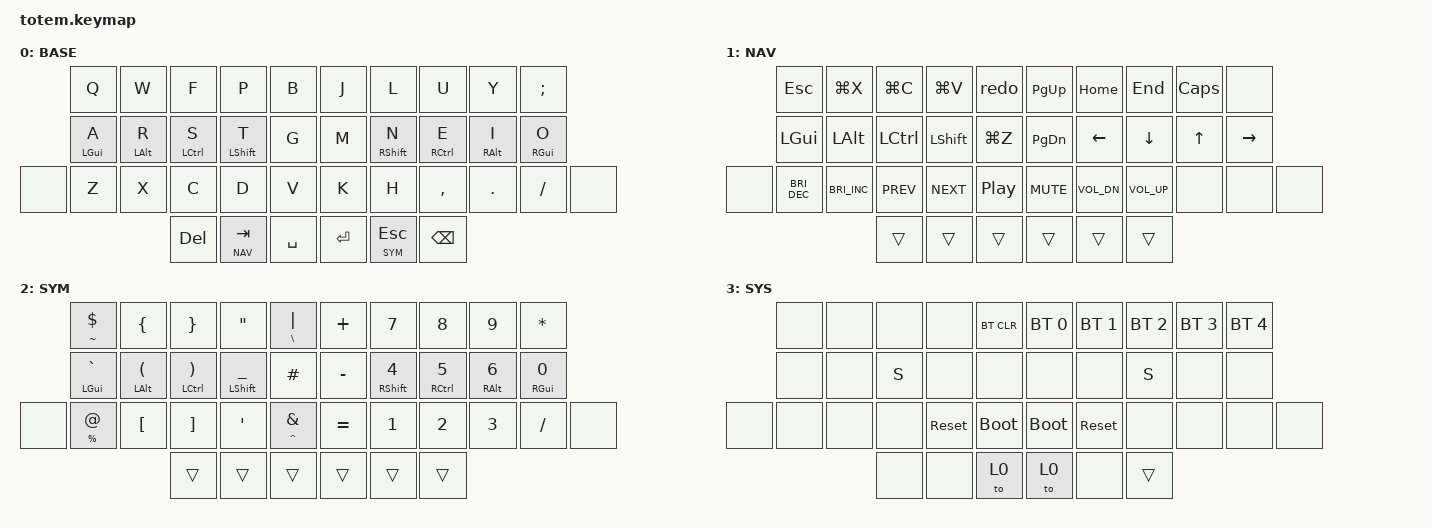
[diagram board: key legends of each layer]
#include <behaviors.dtsi>
#include <dt-bindings/zmk/bt.h>
#include <dt-bindings/zmk/keys.h>

#define BASE 0
#define NAV  1
#define SYM  2
#define SYS  3

// -----------------------------------------------------------------------------------------
//  BEHAVIORS
// -----------------------------------------------------------------------------------------

/ {
    behaviors {
        // CUSTOM HOLD-TAP: "Hold for Symbol A, Tap for Symbol B"
        // Usage: &ht HOLD_KEY TAP_KEY

        ht: custom_hold_tap {
            compatible = "zmk,behavior-hold-tap";
            label = "HOLD_TAP_SYMBOLS";
            #binding-cells = <2>;
            flavor = "balanced";
            tapping-term-ms = <280>;
            quick-tap-ms = <175>;
            require-prior-idle-ms = <150>;
            bindings = <&kp>, <&kp>;
        };
    };
};

// Configuration for standard Mod-Taps (Shift/Ctrl/etc)

&mt {
    flavor = "balanced";
    tapping-term-ms = <280>;
    quick-tap-ms = <175>;
    require-prior-idle-ms = <150>;
};

// Configuration for Layer-Taps (Thumb keys)

&lt {
    flavor = "balanced";
    tapping-term-ms = <280>;
    quick-tap-ms = <175>;
    require-prior-idle-ms = <150>;
};

/ {
    macros {
        // Macro: Redo (Cmd + Shift + Z)

        redo: redo {
            compatible = "zmk,behavior-macro";
            #binding-cells = <0>;
            bindings =
                <&macro_press>,
                <&kp LGUI &kp LSHFT>,
                <&macro_tap>,
                <&kp Z>,
                <&macro_release>,
                <&kp LGUI &kp LSHFT>;
        };
    };

    combos {
        compatible = "zmk,combos";

        combo_sys_layer {
            bindings = <&to SYS>;
            key-positions = <20 31>;
        };

        // Exclamation Mark ! (Keys F + P)

        combo_excl {
            timeout-ms = <50>;
            key-positions = <2 3>;
            bindings = <&kp EXCL>;
        };

        // Question Mark ? (Keys L + U)

        combo_qmark {
            timeout-ms = <50>;
            key-positions = <6 7>;
            bindings = <&kp QMARK>;
        };
    };

    keymap {
        compatible = "zmk,keymap";

        // ---------------------------------------------------------------------------------------------------------------------------
        // LAYER 0: BASE (Colemak-DH)

        base_layer {
            label = "BASE";
            bindings = <
       &kp Q       &kp W       &kp F        &kp P        &kp B        &kp J    &kp L        &kp U        &kp Y       &kp SEMI
       &mt LGUI A  &mt LALT R  &mt LCTRL S  &mt LSHFT T  &kp G        &kp M    &mt RSHFT N  &mt RCTRL E  &mt RALT I  &mt RGUI O
&none  &kp Z       &kp X       &kp C        &kp D        &kp V        &kp K    &kp H        &kp COMMA    &kp DOT     &kp FSLH    &none
                               &kp DEL      &lt NAV TAB  &kp SPACE    &kp RET  &lt SYM ESC  &kp BSPC
            >;
        };

        // ---------------------------------------------------------------------------------------------------------------------------
        // LAYER 1: NAV (Navigation, Editing, and Media)

        nav_layer {
            label = "NAV";
            bindings = <
       &kp ESC        &kp LG(X)      &kp LG(C)   &kp LG(V)   &redo        &kp PG_UP   &kp HOME      &kp END       &kp CAPS  &none
       &kp LGUI       &kp LALT       &kp LCTRL   &kp LSHFT   &kp LG(Z)    &kp PG_DN   &kp LEFT      &kp DOWN      &kp UP    &kp RIGHT
&none  &kp C_BRI_DEC  &kp C_BRI_INC  &kp C_PREV  &kp C_NEXT  &kp C_PP     &kp C_MUTE  &kp C_VOL_DN  &kp C_VOL_UP  &none     &none      &none
                                     &trans      &trans      &trans       &trans      &trans        &trans
            >;
        };

        // ---------------------------------------------------------------------------------------------------------------------------
        // LAYER 2: SYM (Code & Numbers)
        // Using &ht (Hold-Tap) instead of &mt
        // Usage: &ht HOLD_KEY TAP_KEY

        sym_layer {
            label = "SYM";
            bindings = <
       &ht TILDE DLLR  &kp LBRC       &kp RBRC        &kp DQT           &ht BSLH PIPE     &kp PLUS   &kp N7         &kp N8        &kp N9       &kp STAR
       &ht LGUI GRAVE  &mt LALT LPAR  &mt LCTRL RPAR  &mt LSHIFT UNDER  &kp HASH          &kp MINUS  &mt RSHIFT N4  &mt RCTRL N5  &mt RALT N6  &mt RGUI N0
&none  &ht PRCNT AT    &kp LBKT       &kp RBKT        &kp SQT           &mt CARET AMPS    &kp EQUAL  &kp N1         &kp N2        &kp N3       &kp FSLH     &none
                                      &trans          &trans            &trans            &trans     &trans         &trans
            >;
        };

        // ---------------------------------------------------------------------------------------------------------------------------
        // LAYER 3: SYS (Hardware)

        sys_layer {
            label = "SYS";
            bindings = <
       &none  &none  &none  &none       &bt BT_CLR     &bt BT_SEL 0  &bt BT_SEL 1  &bt BT_SEL 2  &bt BT_SEL 3  &bt BT_SEL 4
       &none  &none  &kp S  &none       &none          &none         &none         &kp S         &none         &none
&none  &none  &none  &none  &sys_reset  &bootloader    &bootloader   &sys_reset    &none         &none         &none         &none
                     &none  &none       &to 0          &to 0         &none         &trans
            >;
        };
    };
};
